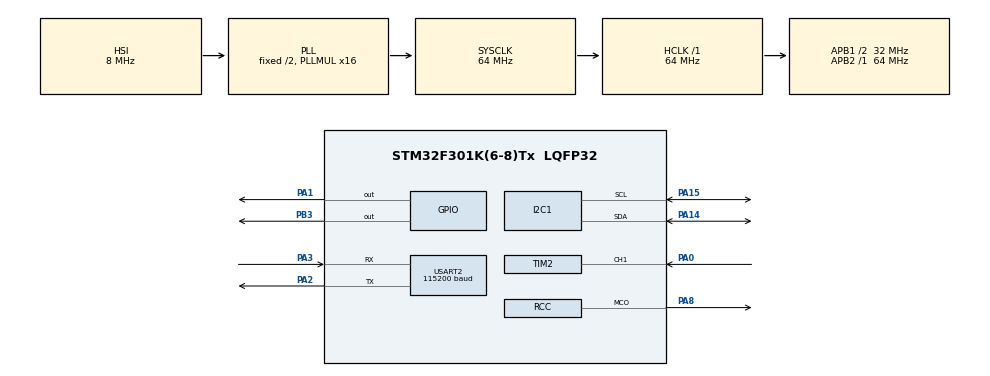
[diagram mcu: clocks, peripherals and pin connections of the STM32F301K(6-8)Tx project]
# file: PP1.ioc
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Mcu.Family=STM32F3
Mcu.Name=STM32F301K(6-8)Tx
Mcu.Package=LQFP32
NVIC.PriorityGroup=NVIC_PRIORITYGROUP_4
NVIC.TIM2_IRQn=true\:0\:0\:false\:false\:true\:true\:true\:true
PA0.Signal=S_TIM2_CH1_ETR
PA1.Signal=GPIO_Output
PA14.Mode=I2C
PA14.Signal=I2C1_SDA
PA15.Mode=I2C
PA15.Signal=I2C1_SCL
PA2.Mode=Asynchronous
PA2.Signal=USART2_TX
PA3.Mode=Asynchronous
PA3.Signal=USART2_RX
PA8.Mode=Clock-out
PA8.Signal=RCC_MCO
PB3.Signal=GPIO_Output
PF0-OSC_IN.Mode=HSE-External-Oscillator
PF0-OSC_IN.Signal=RCC_OSC_IN
PF1-OSC_OUT.Mode=HSE-External-Oscillator
PF1-OSC_OUT.Signal=RCC_OSC_OUT
ProjectManager.HeapSize=0x200
ProjectManager.StackSize=0x400
ProjectManager.TargetToolchain=STM32CubeIDE
RCC.AHBFreq_Value=64000000
RCC.APB1CLKDivider=RCC_HCLK_DIV2
RCC.APB1Freq_Value=32000000
RCC.APB1TimFreq_Value=64000000
RCC.APB2Freq_Value=64000000
RCC.APB2TimFreq_Value=64000000
RCC.CortexFreq_Value=64000000
RCC.HCLKFreq_Value=64000000
RCC.HSE_VALUE=8000000
RCC.HSI_VALUE=8000000
RCC.PLLMUL=RCC_PLL_MUL16
RCC.SYSCLKFreq_VALUE=64000000
RCC.SYSCLKSourceVirtual=RCC_SYSCLKSOURCE_PLLCLK
SH.S_TIM2_CH1_ETR.0=TIM2_CH1,Input_Capture1_from_TI1
TIM2.AutoReloadPreload=TIM_AUTORELOAD_PRELOAD_ENABLE
TIM2.Channel-Input_Capture1_from_TI1=TIM_CHANNEL_1
USART2.BaudRate=115200
USART2.VirtualMode-Asynchronous=VM_ASYNC
VP_TIM2_VS_ClockSourceINT.Mode=Internal
board=custom

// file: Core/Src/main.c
/* USER CODE BEGIN Header */
/**
  ******************************************************************************
  * @file           : main.c
  * @brief          : Main program body
  ******************************************************************************
  * @attention
  *
  * Copyright (c) 2023 STMicroelectronics.
  * All rights reserved.
  *
  * This software is licensed under terms that can be found in the LICENSE file
  * in the root directory of this software component.
  * If no LICENSE file comes with this software, it is provided AS-IS.
  *
  ******************************************************************************
  */
/* USER CODE END Header */
#include "main.h"
#include "liquidcrystal_i2c.h"

I2C_HandleTypeDef hi2c1;

TIM_HandleTypeDef htim2;

UART_HandleTypeDef huart2;

void SystemClock_Config(void);
static void MX_GPIO_Init(void);
static void MX_I2C1_Init(void);
static void MX_TIM2_Init(void);
static void MX_USART2_UART_Init(void);

int main(void)
{

  /* MCU Configuration--------------------------------------------------------*/

  /* Reset of all peripherals, Initializes the Flash interface and the Systick. */
  HAL_Init();

  /* Configure the system clock */
  SystemClock_Config();

  /* Initialize all configured peripherals */
  MX_GPIO_Init();
  MX_I2C1_Init();
  MX_TIM2_Init();
  MX_USART2_UART_Init();
  HAL_TIM_Base_Start_IT(&htim2);
  HAL_TIM_IC_Start_IT(&htim2, TIM_CHANNEL_1);
  /* USER CODE BEGIN 2 */

  /* USER CODE BEGIN 2 */
  HD44780_Init(2);

  /* USER CODE END 2 */

  /* Infinite loop */
  while (1)
  {

  }
}

void SystemClock_Config(void)
{
  RCC_OscInitTypeDef RCC_OscInitStruct = {0};
  RCC_ClkInitTypeDef RCC_ClkInitStruct = {0};
  RCC_PeriphCLKInitTypeDef PeriphClkInit = {0};

  /** Initializes the RCC Oscillators according to the specified parameters
  * in the RCC_OscInitTypeDef structure.
  */
  RCC_OscInitStruct.OscillatorType = RCC_OSCILLATORTYPE_HSI;
  RCC_OscInitStruct.HSIState = RCC_HSI_ON;
  RCC_OscInitStruct.HSICalibrationValue = RCC_HSICALIBRATION_DEFAULT;
  RCC_OscInitStruct.PLL.PLLState = RCC_PLL_ON;
  RCC_OscInitStruct.PLL.PLLSource = RCC_PLLSOURCE_HSI;
  RCC_OscInitStruct.PLL.PLLMUL = RCC_PLL_MUL16;
  if (HAL_RCC_OscConfig(&RCC_OscInitStruct) != HAL_OK)
  {
    Error_Handler();
  }

  /** Initializes the CPU, AHB and APB buses clocks
  */
  RCC_ClkInitStruct.ClockType = RCC_CLOCKTYPE_HCLK|RCC_CLOCKTYPE_SYSCLK
                              |RCC_CLOCKTYPE_PCLK1|RCC_CLOCKTYPE_PCLK2;
  RCC_ClkInitStruct.SYSCLKSource = RCC_SYSCLKSOURCE_PLLCLK;
  RCC_ClkInitStruct.AHBCLKDivider = RCC_SYSCLK_DIV1;
  RCC_ClkInitStruct.APB1CLKDivider = RCC_HCLK_DIV2;
  RCC_ClkInitStruct.APB2CLKDivider = RCC_HCLK_DIV1;

  if (HAL_RCC_ClockConfig(&RCC_ClkInitStruct, FLASH_LATENCY_2) != HAL_OK)
  {
    Error_Handler();
  }
  PeriphClkInit.PeriphClockSelection = RCC_PERIPHCLK_I2C1;
  PeriphClkInit.I2c1ClockSelection = RCC_I2C1CLKSOURCE_HSI;
  if (HAL_RCCEx_PeriphCLKConfig(&PeriphClkInit) != HAL_OK)
  {
    Error_Handler();
  }
  HAL_RCC_MCOConfig(RCC_MCO, RCC_MCO1SOURCE_SYSCLK, RCC_MCODIV_1);
}

static void MX_I2C1_Init(void)
{

  hi2c1.Instance = I2C1;
  hi2c1.Init.Timing = 0x2000090E;
  hi2c1.Init.OwnAddress1 = 0;
  hi2c1.Init.AddressingMode = I2C_ADDRESSINGMODE_7BIT;
  hi2c1.Init.DualAddressMode = I2C_DUALADDRESS_DISABLE;
  hi2c1.Init.OwnAddress2 = 0;
  hi2c1.Init.OwnAddress2Masks = I2C_OA2_NOMASK;
  hi2c1.Init.GeneralCallMode = I2C_GENERALCALL_DISABLE;
  hi2c1.Init.NoStretchMode = I2C_NOSTRETCH_DISABLE;
  if (HAL_I2C_Init(&hi2c1) != HAL_OK)
  {
    Error_Handler();
  }

  /** Configure Analogue filter
  */
  if (HAL_I2CEx_ConfigAnalogFilter(&hi2c1, I2C_ANALOGFILTER_ENABLE) != HAL_OK)
  {
    Error_Handler();
  }

  /** Configure Digital filter
  */
  if (HAL_I2CEx_ConfigDigitalFilter(&hi2c1, 0) != HAL_OK)
  {
    Error_Handler();
  }

}

static void MX_TIM2_Init(void)
{

  TIM_ClockConfigTypeDef sClockSourceConfig = {0};
  TIM_MasterConfigTypeDef sMasterConfig = {0};
  TIM_IC_InitTypeDef sConfigIC = {0};

  htim2.Instance = TIM2;
  htim2.Init.Prescaler = 0;
  htim2.Init.CounterMode = TIM_COUNTERMODE_UP;
  htim2.Init.Period = 4294967295;
  htim2.Init.ClockDivision = TIM_CLOCKDIVISION_DIV1;
  htim2.Init.AutoReloadPreload = TIM_AUTORELOAD_PRELOAD_ENABLE;
  if (HAL_TIM_Base_Init(&htim2) != HAL_OK)
  {
    Error_Handler();
  }
  sClockSourceConfig.ClockSource = TIM_CLOCKSOURCE_INTERNAL;
  if (HAL_TIM_ConfigClockSource(&htim2, &sClockSourceConfig) != HAL_OK)
  {
    Error_Handler();
  }
  if (HAL_TIM_IC_Init(&htim2) != HAL_OK)
  {
    Error_Handler();
  }
  sMasterConfig.MasterOutputTrigger = TIM_TRGO_RESET;
  sMasterConfig.MasterSlaveMode = TIM_MASTERSLAVEMODE_DISABLE;
  if (HAL_TIMEx_MasterConfigSynchronization(&htim2, &sMasterConfig) != HAL_OK)
  {
    Error_Handler();
  }
  sConfigIC.ICPolarity = TIM_INPUTCHANNELPOLARITY_RISING;
  sConfigIC.ICSelection = TIM_ICSELECTION_DIRECTTI;
  sConfigIC.ICPrescaler = TIM_ICPSC_DIV1;
  sConfigIC.ICFilter = 0;
  if (HAL_TIM_IC_ConfigChannel(&htim2, &sConfigIC, TIM_CHANNEL_1) != HAL_OK)
  {
    Error_Handler();
  }

}

static void MX_USART2_UART_Init(void)
{

  huart2.Instance = USART2;
  huart2.Init.BaudRate = 115200;
  huart2.Init.WordLength = UART_WORDLENGTH_8B;
  huart2.Init.StopBits = UART_STOPBITS_1;
  huart2.Init.Parity = UART_PARITY_NONE;
  huart2.Init.Mode = UART_MODE_TX_RX;
  huart2.Init.HwFlowCtl = UART_HWCONTROL_NONE;
  huart2.Init.OverSampling = UART_OVERSAMPLING_16;
  huart2.Init.OneBitSampling = UART_ONE_BIT_SAMPLE_DISABLE;
  huart2.AdvancedInit.AdvFeatureInit = UART_ADVFEATURE_NO_INIT;
  if (HAL_UART_Init(&huart2) != HAL_OK)
  {
    Error_Handler();
  }

}

static void MX_GPIO_Init(void)
{
  GPIO_InitTypeDef GPIO_InitStruct = {0};

  /* GPIO Ports Clock Enable */
  __HAL_RCC_GPIOF_CLK_ENABLE();
  __HAL_RCC_GPIOA_CLK_ENABLE();
  __HAL_RCC_GPIOB_CLK_ENABLE();

  /*Configure GPIO pin Output Level */
  HAL_GPIO_WritePin(GPIOA, GPIO_PIN_1, GPIO_PIN_RESET);

  /*Configure GPIO pin Output Level */
  HAL_GPIO_WritePin(GPIOB, GPIO_PIN_3, GPIO_PIN_RESET);

  /*Configure GPIO pin : PA1 */
  GPIO_InitStruct.Pin = GPIO_PIN_1;
  GPIO_InitStruct.Mode = GPIO_MODE_OUTPUT_PP;
  GPIO_InitStruct.Pull = GPIO_NOPULL;
  GPIO_InitStruct.Speed = GPIO_SPEED_FREQ_LOW;
  HAL_GPIO_Init(GPIOA, &GPIO_InitStruct);

  /*Configure GPIO pin : PA8 */
  GPIO_InitStruct.Pin = GPIO_PIN_8;
  GPIO_InitStruct.Mode = GPIO_MODE_AF_PP;
  GPIO_InitStruct.Pull = GPIO_NOPULL;
  GPIO_InitStruct.Speed = GPIO_SPEED_FREQ_LOW;
  GPIO_InitStruct.Alternate = GPIO_AF0_MCO;
  HAL_GPIO_Init(GPIOA, &GPIO_InitStruct);

  /*Configure GPIO pin : PB3 */
  GPIO_InitStruct.Pin = GPIO_PIN_3;
  GPIO_InitStruct.Mode = GPIO_MODE_OUTPUT_PP;
  GPIO_InitStruct.Pull = GPIO_NOPULL;
  GPIO_InitStruct.Speed = GPIO_SPEED_FREQ_LOW;
  HAL_GPIO_Init(GPIOB, &GPIO_InitStruct);

}

/* USER CODE BEGIN 4 */
volatile uint32_t Frequency =0;
volatile uint32_t Seuil_one=90000;
volatile uint32_t Capacity;
volatile uint32_t cnt[5] = {0,0,0,0,0};
volatile uint32_t diff =0;
volatile uint32_t overflow = 0;
volatile int ind=0;
volatile int aff =0;
volatile char Frequency_s[40];

void HAL_TIM_IC_CaptureCallback(TIM_HandleTypeDef *htim)
{
	cnt[ind]=(uint32_t) HAL_TIM_ReadCapturedValue(htim, TIM_CHANNEL_1);
	ind++;
	if (ind ==5)
		{ind=0;
		diff = (cnt[4]+ overflow*4294967295 )-cnt[0];
		overflow=0;
		Frequency = 64000000/((htim->Init.Prescaler+1)*diff);
		Frequency = Frequency*4;
		Capacity = 1000000/Frequency;

 // Formattage des espaces de l'affichage
	if (Frequency >=100000)
		sprintf(Frequency_s,"Frequency= %d Hz  C= %d pF\n",Frequency,Capacity);
	else if (Frequency >=10000)
		sprintf(Frequency_s,"Frequency= %d Hz  C= %d pF\n",Frequency,Capacity);
	else
		sprintf(Frequency_s,"Frequency= %d Hz  C= %d pF\n",Frequency,Capacity);

 // Afficher avec une vitesse 30 fois moins pour la lisibilité
	if(aff++ ==30){
		aff =0;
		HAL_UART_Transmit(&huart2,Frequency_s,40,1000);
	}

	// Tester le seuil
	if(Frequency<Seuil_one){
		HD44780_SetCursor(0,0);
	    HD44780_PrintStr("Un voleur est                                                                   ");
	    HD44780_SetCursor(0,1);
	    HD44780_PrintStr("proche                                                                          ");
	    HAL_GPIO_WritePin(GPIOB, GPIO_PIN_3, SET);
	    HAL_GPIO_WritePin(GPIOA, GPIO_PIN_1, SET);
		HD44780_Clear();
	}
	else
		 HAL_GPIO_WritePin(GPIOB, GPIO_PIN_3, RESET);
		 HAL_GPIO_WritePin(GPIOA, GPIO_PIN_1, RESET);
	}
}

void HAL_TIM_PeriodElapsedCallback(TIM_HandleTypeDef* htim)
{
	overflow++;
}
/* USER CODE END 4 */

void Error_Handler(void)
{
}
